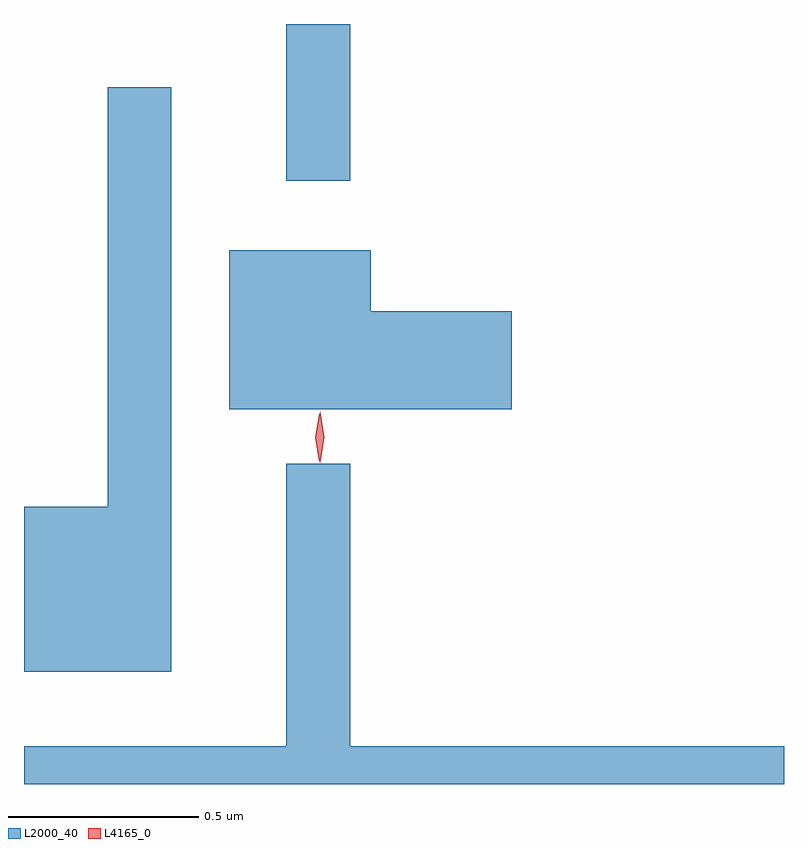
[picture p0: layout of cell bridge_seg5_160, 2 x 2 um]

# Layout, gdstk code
import gdstk
lib = gdstk.Library(unit=1e-6, precision=1e-09)
def R(c, l, rs):  # rectangles x0, y0, x1, y1
    for r in rs: c.add(gdstk.rectangle(r[:2], r[2:], *l))
def P(c, l, *ps):  # polygons
    for p in ps: c.add(gdstk.Polygon(p, *l))
L2000_40 = (2000, 40)
L4165_0 = (4165, 0)

bridge_seg5_160 = lib.new_cell('bridge_seg5_160')
R(bridge_seg5_160, L2000_40, [(1089.581,1436.353,1089.749,1436.765)])
P(bridge_seg5_160, L2000_40, [(1089.279,1436.598),(1089.111,1436.598),(1089.111,1435.494),(1088.891,1435.494),(1088.891,1435.061),(1089.279,1435.061)],
  [(1090.174,1436.009),(1089.804,1436.009),(1089.804,1436.169),(1089.431,1436.169),(1089.431,1435.751),(1090.174,1435.751)],
  [(1090.891,1434.864),(1089.749,1434.864),(1089.749,1435.608),(1089.581,1435.608),(1089.581,1434.864),(1088.891,1434.864),(1088.891,1434.765),(1090.891,1434.765)])
P(bridge_seg5_160, L4165_0, [(1089.67,1435.61),(1089.661,1435.678),(1089.67,1435.745),(1089.671,1435.746),(1089.671,1435.745),(1089.681,1435.678),(1089.671,1435.61),(1089.671,1435.61)],
  [(1089.668,1435.613),(1089.668,1435.613),(1089.658,1435.676),(1089.668,1435.74),(1089.668,1435.74),(1089.668,1435.74),(1089.678,1435.676),(1089.668,1435.613)])

lib.write_gds('bridge_seg5_160.gds')
